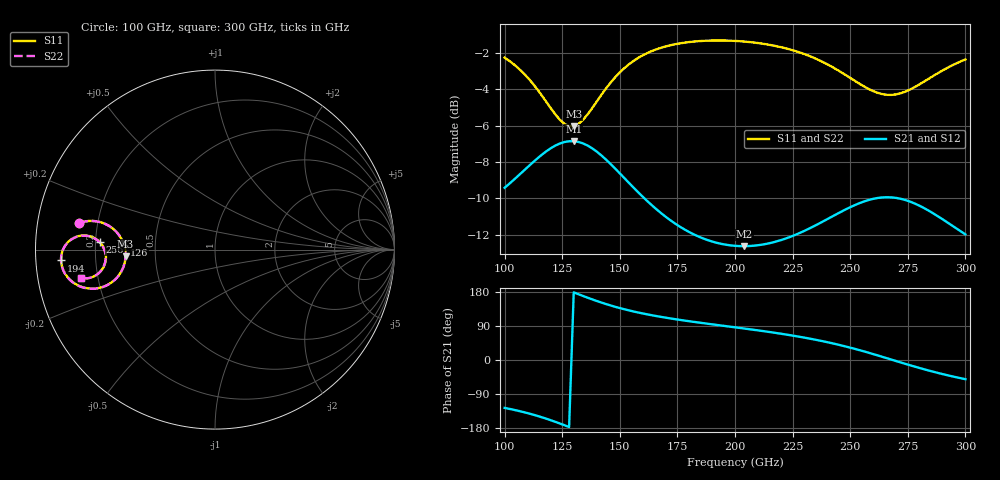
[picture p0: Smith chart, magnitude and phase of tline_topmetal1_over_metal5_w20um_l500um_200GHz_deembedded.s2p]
! Created with skrf 2.2.0 (http://scikit-rf.org).
# GHz S DB R 50.0
! Port[1] = P1
! Port[2] = P2
!freq dBS11 angS11 dBS21 angS21 dBS12 angS12 dBS22 angS22
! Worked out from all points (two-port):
!   101 points, 100 GHz to 300 GHz, reference 50 ohm
!   highest |S21| = -6.86 dB at 130 GHz (marker M1); lowest = -12.6 dB at 204 GHz (marker M2)
!   |S21| within 3 dB of the highest: start of sweep to 159.5 GHz
!   lowest |S11| = -6.0 dB at 130 GHz (marker M3), VSWR 3.00, Z = 16.7 - j1.64 ohm
!   |S11| at or under -10 dB: nowhere
!   |S22| runs from -6.0 to -1.3 dB; largest |S21 - S12| = 4.4e-14
!   S11 on the Smith chart (normalised r, x): 100 GHz: 0.13, +0.10; 126 GHz: 0.33, +0.02; 194 GHz: 0.08, -0.04; 256 GHz: 0.22, +0.03; 300 GHz: 0.14, -0.10
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100  -2.26 168.9  -9.42 -126.4  -9.42 -126.4  -2.27 168.9
108  -3.09 166.8  -8.52 -137.1  -8.52 -137.1  -3.09 166.9
114  -3.97 166.7  -7.83 -147.1  -7.83 -147.1  -3.98 166.8
120  -5.04 169.6  -7.25 -158.9  -7.25 -158.9  -5.04 169.7
126  -5.90 177.2  -6.90 -172.2  -6.90 -172.2  -5.91 177.3
130  -6.03 -175.8  -6.86 178.4  -6.86 178.4  -6.03 -175.7
134  -5.69 -169.2  -6.98 169.1  -6.98 169.1  -5.68 -169.1
142  -4.31 -162.3  -7.64 151.6  -7.64 151.6  -4.30 -162.2
148  -3.34 -161.7  -8.37 140.4  -8.37 140.4  -3.33 -161.6
158  -2.27 -164.3  -9.67 125.3  -9.67 125.3  -2.26 -164.2
168  -1.71 -167.8  -10.82 113.7  -10.82 113.7  -1.71 -167.8
180  -1.40 -171.9  -11.85 102.4  -11.85 102.4  -1.40 -171.8
194  -1.31 -176.0  -12.50 91.0  -12.50 91.0  -1.31 -175.9
200  -1.34 -177.6  -12.61 86.3  -12.61 86.3  -1.33 -177.5
204  -1.37 -178.6  -12.63 83.1  -12.63 83.1  -1.37 -178.6
220  -1.69 177.4  -12.30 69.3  -12.30 69.3  -1.68 177.5
234  -2.26 174.6  -11.55 54.6  -11.55 54.6  -2.25 174.7
246  -3.05 173.9  -10.74 38.7  -10.74 38.7  -3.04 174.0
256  -3.84 176.3  -10.17 22.7  -10.17 22.7  -3.83 176.4
268  -4.31 -176.1  -9.95 0.9  -9.95 0.9  -4.29 -176.0
284  -3.42 -168.0  -10.67 -27.6  -10.67 -27.6  -3.41 -167.9
300  -2.36 -168.0  -11.98 -50.7  -11.98 -50.7  -2.35 -168.0
